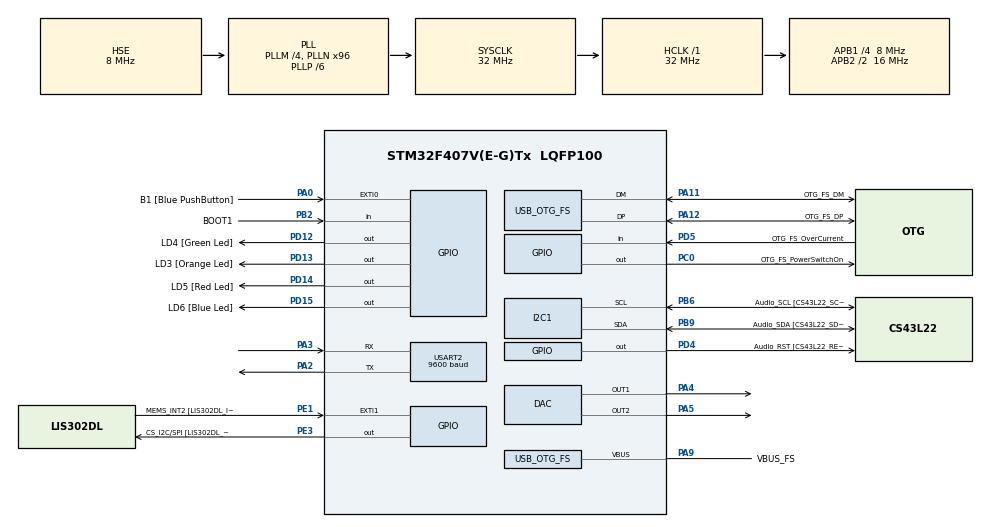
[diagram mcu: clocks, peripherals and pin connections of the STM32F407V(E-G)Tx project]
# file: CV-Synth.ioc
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Dma.Request0=USART2_RX
Dma.USART2_RX.0.Direction=DMA_PERIPH_TO_MEMORY
Dma.USART2_RX.0.FIFOMode=DMA_FIFOMODE_DISABLE
Dma.USART2_RX.0.Instance=DMA1_Stream5
Dma.USART2_RX.0.MemDataAlignment=DMA_MDATAALIGN_BYTE
Dma.USART2_RX.0.MemInc=DMA_MINC_ENABLE
Dma.USART2_RX.0.Mode=DMA_CIRCULAR
Dma.USART2_RX.0.PeriphDataAlignment=DMA_PDATAALIGN_BYTE
Dma.USART2_RX.0.PeriphInc=DMA_PINC_DISABLE
Dma.USART2_RX.0.Priority=DMA_PRIORITY_LOW
Mcu.Family=STM32F4
Mcu.Name=STM32F407V(E-G)Tx
Mcu.Package=LQFP100
NVIC.DMA1_Stream5_IRQn=true\:0\:0\:false\:false\:true\:false\:true
NVIC.OTG_FS_IRQn=true\:0\:0\:false\:false\:true\:true\:true
NVIC.PriorityGroup=NVIC_PRIORITYGROUP_0
NVIC.USART2_IRQn=true\:0\:0\:false\:false\:true\:true\:true
PA0-WKUP.GPIO_Label=B1 [Blue PushButton]
PA0-WKUP.GPIO_ModeDefaultEXTI=GPIO_MODE_EVT_RISING
PA0-WKUP.GPIO_PuPd=GPIO_NOPULL
PA0-WKUP.Signal=GPXTI0
PA10.GPIO_Label=OTG_FS_ID
PA10.GPIO_Mode=GPIO_MODE_AF_PP
PA10.GPIO_PuPd=GPIO_NOPULL
PA10.GPIO_Speed=GPIO_SPEED_FREQ_LOW
PA10.Signal=USB_OTG_FS_ID
PA11.GPIO_Label=OTG_FS_DM
PA11.GPIO_Mode=GPIO_MODE_AF_PP
PA11.GPIO_PuPd=GPIO_NOPULL
PA11.GPIO_Speed=GPIO_SPEED_FREQ_LOW
PA11.Mode=Host_Only
PA11.Signal=USB_OTG_FS_DM
PA12.GPIO_Label=OTG_FS_DP
PA12.GPIO_Mode=GPIO_MODE_AF_PP
PA12.GPIO_PuPd=GPIO_NOPULL
PA12.GPIO_Speed=GPIO_SPEED_FREQ_LOW
PA12.Mode=Host_Only
PA12.Signal=USB_OTG_FS_DP
PA13.GPIO_Label=SWDIO
PA13.Mode=Serial_Wire
PA13.Signal=SYS_JTMS-SWDIO
PA14.GPIO_Label=SWCLK
PA14.Mode=Serial_Wire
PA14.Signal=SYS_JTCK-SWCLK
PA2.Mode=Asynchronous
PA2.Signal=USART2_TX
PA3.Mode=Asynchronous
PA3.Signal=USART2_RX
PA4.Signal=COMP_DAC1_group
PA5.Signal=COMP_DAC2_group
PA6.GPIO_Label=SPI1_MISO [LIS302DL_SDO]
PA6.GPIO_Mode=GPIO_MODE_AF_PP
PA6.GPIO_PuPd=GPIO_NOPULL
PA6.GPIO_Speed=GPIO_SPEED_FREQ_LOW
PA6.Signal=SPI1_MISO
PA7.GPIO_Label=SPI1_MOSI [LIS302DL_SDA/SDI/SDO]
PA7.GPIO_Mode=GPIO_MODE_AF_PP
PA7.GPIO_PuPd=GPIO_NOPULL
PA7.GPIO_Speed=GPIO_SPEED_FREQ_LOW
PA7.Signal=SPI1_MOSI
PA9.GPIO_Label=VBUS_FS
PA9.GPIO_Mode=GPIO_MODE_INPUT
PA9.GPIO_PuPd=GPIO_NOPULL
PA9.Mode=Activate_VBUS
PA9.Signal=USB_OTG_FS_VBUS
PB10.GPIO_Label=CLK_IN [MP45DT02_CLK]
PB10.GPIO_Mode=GPIO_MODE_AF_PP
PB10.GPIO_PuPd=GPIO_NOPULL
PB10.GPIO_Speed=GPIO_SPEED_FREQ_LOW
PB10.Signal=I2S2_CK
PB2.GPIO_Label=BOOT1
PB2.GPIO_Mode=GPIO_MODE_INPUT
PB2.GPIO_PuPd=GPIO_NOPULL
PB2.Signal=GPIO_Input
PB3.GPIO_Label=SWO
PB3.Signal=SYS_JTDO-SWO
PB6.GPIO_Label=Audio_SCL [CS43L22_SCL]
PB6.GPIO_Mode=GPIO_MODE_AF_OD
PB6.GPIO_PuPd=GPIO_NOPULL
PB6.GPIO_Speed=GPIO_SPEED_FREQ_LOW
PB6.Mode=I2C
PB6.Signal=I2C1_SCL
PB9.GPIO_Label=Audio_SDA [CS43L22_SDA]
PB9.GPIO_Mode=GPIO_MODE_AF_OD
PB9.GPIO_PuPd=GPIO_NOPULL
PB9.GPIO_Speed=GPIO_SPEED_FREQ_LOW
PB9.Mode=I2C
PB9.Signal=I2C1_SDA
PC0.GPIO_Label=OTG_FS_PowerSwitchOn
PC0.GPIO_PuPd=GPIO_NOPULL
PC0.GPIO_Speed=GPIO_SPEED_FREQ_LOW
PC0.PinState=GPIO_PIN_SET
PC0.Signal=GPIO_Output
PC10.GPIO_Label=I2S3_SCK [CS43L22_SCLK]
PC10.GPIO_Mode=GPIO_MODE_AF_PP
PC10.GPIO_PuPd=GPIO_NOPULL
PC10.GPIO_Speed=GPIO_SPEED_FREQ_LOW
PC10.Signal=I2S3_CK
PC12.GPIO_Label=I2S3_SD [CS43L22_SDIN]
PC12.GPIO_Mode=GPIO_MODE_AF_PP
PC12.GPIO_PuPd=GPIO_NOPULL
PC12.GPIO_Speed=GPIO_SPEED_FREQ_LOW
PC12.Signal=I2S3_SD
PC14-OSC32_IN.GPIO_Label=PC14-OSC32_IN
PC14-OSC32_IN.Mode=LSE-External-Oscillator
PC14-OSC32_IN.Signal=RCC_OSC32_IN
PC15-OSC32_OUT.GPIO_Label=PC15-OSC32_OUT
PC15-OSC32_OUT.Mode=LSE-External-Oscillator
PC15-OSC32_OUT.Signal=RCC_OSC32_OUT
PC3.GPIO_Label=PDM_OUT [MP45DT02_DOUT]
PC3.GPIO_Mode=GPIO_MODE_AF_PP
PC3.GPIO_PuPd=GPIO_NOPULL
PC3.GPIO_Speed=GPIO_SPEED_FREQ_LOW
PC3.Signal=I2S2_SD
PC7.GPIO_Label=I2S3_MCK [CS43L22_MCLK]
PC7.GPIO_Mode=GPIO_MODE_AF_PP
PC7.GPIO_PuPd=GPIO_NOPULL
PC7.GPIO_Speed=GPIO_SPEED_FREQ_LOW
PC7.Signal=I2S3_MCK
PD12.GPIO_Label=LD4 [Green Led]
PD12.GPIO_PuPd=GPIO_NOPULL
PD12.GPIO_Speed=GPIO_SPEED_FREQ_LOW
PD12.Signal=GPIO_Output
PD13.GPIO_Label=LD3 [Orange Led]
PD13.GPIO_PuPd=GPIO_NOPULL
PD13.GPIO_Speed=GPIO_SPEED_FREQ_LOW
PD13.Signal=GPIO_Output
PD14.GPIO_Label=LD5 [Red Led]
PD14.GPIO_PuPd=GPIO_NOPULL
PD14.GPIO_Speed=GPIO_SPEED_FREQ_LOW
PD14.Signal=GPIO_Output
PD15.GPIO_Label=LD6 [Blue Led]
PD15.GPIO_PuPd=GPIO_NOPULL
PD15.GPIO_Speed=GPIO_SPEED_FREQ_LOW
PD15.Signal=GPIO_Output
PD4.GPIO_Label=Audio_RST [CS43L22_RESET]
PD4.GPIO_PuPd=GPIO_NOPULL
PD4.GPIO_Speed=GPIO_SPEED_FREQ_LOW
PD4.Signal=GPIO_Output
PD5.GPIO_Label=OTG_FS_OverCurrent
PD5.GPIO_Mode=GPIO_MODE_INPUT
PD5.GPIO_PuPd=GPIO_NOPULL
PD5.Signal=GPIO_Input
PE1.GPIO_Label=MEMS_INT2 [LIS302DL_INT2]
PE1.GPIO_ModeDefaultEXTI=GPIO_MODE_EVT_RISING
PE1.GPIO_PuPd=GPIO_NOPULL
PE1.Signal=GPXTI1
PE3.GPIO_Label=CS_I2C/SPI [LIS302DL_CS_I2C/SPI]
PE3.GPIO_PuPd=GPIO_NOPULL
PE3.GPIO_Speed=GPIO_SPEED_FREQ_LOW
PE3.Signal=GPIO_Output
PH0-OSC_IN.GPIO_Label=PH0-OSC_IN
PH0-OSC_IN.Mode=HSE-External-Oscillator
PH0-OSC_IN.Signal=RCC_OSC_IN
PH1-OSC_OUT.GPIO_Label=PH1-OSC_OUT
PH1-OSC_OUT.Mode=HSE-External-Oscillator
PH1-OSC_OUT.Signal=RCC_OSC_OUT
ProjectManager.HeapSize=0x200
ProjectManager.StackSize=0x400
ProjectManager.TargetToolchain=STM32CubeIDE
RCC.48MHZClocksFreq_Value=48000000
RCC.AHBFreq_Value=32000000
RCC.APB1CLKDivider=RCC_HCLK_DIV4
RCC.APB1Freq_Value=8000000
RCC.APB1TimFreq_Value=16000000
RCC.APB2CLKDivider=RCC_HCLK_DIV2
RCC.APB2Freq_Value=16000000
RCC.APB2TimFreq_Value=32000000
RCC.CortexFreq_Value=32000000
RCC.HCLKFreq_Value=32000000
RCC.HSE_VALUE=8000000
RCC.HSI_VALUE=16000000
RCC.PLLI2SN=50
RCC.PLLM=4
RCC.PLLN=96
RCC.PLLP=RCC_PLLP_DIV6
RCC.SYSCLKFreq_VALUE=32000000
RCC.SYSCLKSource=RCC_SYSCLKSOURCE_PLLCLK
RCC.VCOOutputFreq_Value=192000000
SH.COMP_DAC1_group.0=DAC_OUT1,DAC_OUT1
SH.COMP_DAC2_group.0=DAC_OUT2,DAC_OUT2
USART2.BaudRate=9600
USART2.VirtualMode=VM_ASYNC
USB_HOST.BSP.number=1
USB_HOST.USBH_HandleTypeDef-CDC_FS=hUsbHostFS
USB_HOST.VirtualModeFS=Cdc
USB_HOST0.BSP.STBoard=false
USB_HOST0.BSP.api=Unknown
USB_HOST0.BSP.i2caddr=0
USB_HOST0.BSP.i2creg=0
USB_HOST0.BSP.instance=PC0
USB_HOST0.BSP.ip=GPIO
USB_HOST0.BSP.mode=Output
USB_HOST0.BSP.name=Drive_VBUS_FS
USB_HOST0.BSP.solution=PC0
USB_OTG_FS.VirtualMode=Host_Only
USB_OTG_FS.phy_itface=HCD_PHY_EMBEDDED
VP_USB_HOST_VS_USB_HOST_CDC_FS.Mode=CDC_FS
board=STM32F407G-DISC1

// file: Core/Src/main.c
/* USER CODE BEGIN Header */
/**
  ******************************************************************************
  * @file           : main.c
  * @brief          : Main program body
  ******************************************************************************
  * @attention
  *
  * <h2><center>&copy; Copyright (c) 2021 STMicroelectronics.
  * All rights reserved.</center></h2>
  *
  * This software component is licensed by ST under Ultimate Liberty license
  * SLA0044, the "License"; You may not use this file except in compliance with
  * the License. You may obtain a copy of the License at:
  *                             www.st.com/SLA0044
  *
  ******************************************************************************
  */

/*
 * TODO
 * 		Get 12 bit DAC resolution working instead of 8 bit
 *		Stabilize/buffer voltage before or after opamp
 *		Custom BLE service - midi spec, handling, hw flow control
 *		Custom PCB
 *
 * BUGS
 * 		If messages that are too large are received, the remainder of previous message
		will overflow onto the beginning of next message sent. Assuming opposite
		problem likely when messages smaller than expected are received. Would prob
		be best to address when adding custom BLE service and midi handler
 * 		Eurorack tuning isn't standardized, so what to do? Middle C is 5v for me
		but 2v or 3v for different modules. 0v is middle c for moog so maybe
		should shift range from 0v to 10v to -5v to +5v
*/

/* USER CODE END Header */
#include "main.h"
#include "usb_host.h"

/* USER CODE BEGIN Includes */
#include <stdio.h>
#include <stdint.h>
/* USER CODE END Includes */

DAC_HandleTypeDef hdac;

I2C_HandleTypeDef hi2c1;

UART_HandleTypeDef huart2;
DMA_HandleTypeDef hdma_usart2_rx;

void SystemClock_Config(void);
static void MX_GPIO_Init(void);
static void MX_DMA_Init(void);
static void MX_I2C1_Init(void);
static void MX_USART2_UART_Init(void);
static void MX_DAC_Init(void);
void MX_USB_HOST_Process(void);

/* USER CODE BEGIN 0 */
	uint8_t volatile RxData[3];
	uint8_t volatile TxData[13]="Hello World\r\n";

	//MIDI BYTES
	uint8_t const midi_status = 0;
	uint8_t const midi_pitch = 1;
	uint8_t const midi_velocity = 2;

//	//GATE
//	uint8_t const note_on = 0x90;
//	uint8_t const note_off = 0x80;

	//CV
	float valVolt = 3; //range is 0v - 3v
	uint8_t valByte;
/* USER CODE END 0 */

int main(void)
{

  /* MCU Configuration--------------------------------------------------------*/

  /* Reset of all peripherals, Initializes the Flash interface and the Systick. */
  HAL_Init();

  /* Configure the system clock */
  SystemClock_Config();

  /* Initialize all configured peripherals */
  MX_GPIO_Init();
  MX_DMA_Init();
  MX_I2C1_Init();
  MX_USB_HOST_Init();
  MX_USART2_UART_Init();
  MX_DAC_Init();
  /* USER CODE BEGIN 2 */
  valByte = (uint8_t)((valVolt/3.0)*255);

  HAL_UART_Receive_DMA(&huart2, RxData, 3);
  HAL_DAC_Start(&hdac, DAC_CHANNEL_1);
  HAL_DAC_SetValue(&hdac, DAC_CHANNEL_1, DAC_ALIGN_8B_R, 255);
  HAL_DAC_Start(&hdac, DAC_CHANNEL_2);
  HAL_DAC_SetValue(&hdac, DAC_CHANNEL_2, DAC_ALIGN_8B_R, 255);
  /* USER CODE END 2 */

  /* Infinite loop */
  while (1)
  {
    MX_USB_HOST_Process();

    /* USER CODE BEGIN 3 */
    //DAC1 Pitch
    if (RxData[midi_pitch] > 120) { //Rounding off to 120 so 1v/oct scales properly
        RxData[midi_pitch] = 120;
    }
    valVolt = (RxData[midi_pitch] * 3.3) / 120; 	//Actual output from DAC is 2.85v not 3.3v but compensated with opamp
    valByte = (uint8_t)((valVolt/3.3)*255);			//Opamp R1 7.5K, R2 3K
    HAL_DAC_SetValue(&hdac, DAC_CHANNEL_1, DAC_ALIGN_8B_R, valByte);

    //DAC2 Gate
    if ((RxData[midi_status] >= 0x90) && (RxData[midi_status] <= 0x9F)) {
    	HAL_DAC_SetValue(&hdac, DAC_CHANNEL_2, DAC_ALIGN_8B_R, 255);
    }
    if ((RxData[midi_status] >= 0x80) && (RxData[midi_status] <= 0x8F)) {
    	HAL_DAC_SetValue(&hdac, DAC_CHANNEL_2, DAC_ALIGN_8B_R, 0);
    }

//    printf("Status is 0x%X, pitch is 0x%X, velocity is 0x%X \n\n", RxData[midi_status], RxData[midi_pitch], RxData[midi_velocity]);
//
//    HAL_UART_Transmit(&huart2, TxData, 13, 10);

//    HAL_Delay(500);
//    HAL_GPIO_TogglePin(GPIOD, GPIO_PIN_15);
  }
  /* USER CODE END 3 */
}

void SystemClock_Config(void)
{
  RCC_OscInitTypeDef RCC_OscInitStruct = {0};
  RCC_ClkInitTypeDef RCC_ClkInitStruct = {0};

  /** Configure the main internal regulator output voltage
  */
  __HAL_RCC_PWR_CLK_ENABLE();
  __HAL_PWR_VOLTAGESCALING_CONFIG(PWR_REGULATOR_VOLTAGE_SCALE1);
  /** Initializes the RCC Oscillators according to the specified parameters
  * in the RCC_OscInitTypeDef structure.
  */
  RCC_OscInitStruct.OscillatorType = RCC_OSCILLATORTYPE_HSE;
  RCC_OscInitStruct.HSEState = RCC_HSE_ON;
  RCC_OscInitStruct.PLL.PLLState = RCC_PLL_ON;
  RCC_OscInitStruct.PLL.PLLSource = RCC_PLLSOURCE_HSE;
  RCC_OscInitStruct.PLL.PLLM = 4;
  RCC_OscInitStruct.PLL.PLLN = 96;
  RCC_OscInitStruct.PLL.PLLP = RCC_PLLP_DIV6;
  RCC_OscInitStruct.PLL.PLLQ = 4;
  if (HAL_RCC_OscConfig(&RCC_OscInitStruct) != HAL_OK)
  {
    Error_Handler();
  }
  /** Initializes the CPU, AHB and APB buses clocks
  */
  RCC_ClkInitStruct.ClockType = RCC_CLOCKTYPE_HCLK|RCC_CLOCKTYPE_SYSCLK
                              |RCC_CLOCKTYPE_PCLK1|RCC_CLOCKTYPE_PCLK2;
  RCC_ClkInitStruct.SYSCLKSource = RCC_SYSCLKSOURCE_PLLCLK;
  RCC_ClkInitStruct.AHBCLKDivider = RCC_SYSCLK_DIV1;
  RCC_ClkInitStruct.APB1CLKDivider = RCC_HCLK_DIV4;
  RCC_ClkInitStruct.APB2CLKDivider = RCC_HCLK_DIV2;

  if (HAL_RCC_ClockConfig(&RCC_ClkInitStruct, FLASH_LATENCY_1) != HAL_OK)
  {
    Error_Handler();
  }
}

static void MX_DAC_Init(void)
{

  DAC_ChannelConfTypeDef sConfig = {0};

  /** DAC Initialization
  */
  hdac.Instance = DAC;
  if (HAL_DAC_Init(&hdac) != HAL_OK)
  {
    Error_Handler();
  }
  /** DAC channel OUT1 config
  */
  sConfig.DAC_Trigger = DAC_TRIGGER_NONE;
  sConfig.DAC_OutputBuffer = DAC_OUTPUTBUFFER_ENABLE;
  if (HAL_DAC_ConfigChannel(&hdac, &sConfig, DAC_CHANNEL_1) != HAL_OK)
  {
    Error_Handler();
  }
  /** DAC channel OUT2 config
  */
  if (HAL_DAC_ConfigChannel(&hdac, &sConfig, DAC_CHANNEL_2) != HAL_OK)
  {
    Error_Handler();
  }

}

static void MX_I2C1_Init(void)
{

  hi2c1.Instance = I2C1;
  hi2c1.Init.ClockSpeed = 100000;
  hi2c1.Init.DutyCycle = I2C_DUTYCYCLE_2;
  hi2c1.Init.OwnAddress1 = 0;
  hi2c1.Init.AddressingMode = I2C_ADDRESSINGMODE_7BIT;
  hi2c1.Init.DualAddressMode = I2C_DUALADDRESS_DISABLE;
  hi2c1.Init.OwnAddress2 = 0;
  hi2c1.Init.GeneralCallMode = I2C_GENERALCALL_DISABLE;
  hi2c1.Init.NoStretchMode = I2C_NOSTRETCH_DISABLE;
  if (HAL_I2C_Init(&hi2c1) != HAL_OK)
  {
    Error_Handler();
  }

}

static void MX_USART2_UART_Init(void)
{

  huart2.Instance = USART2;
  huart2.Init.BaudRate = 9600;
  huart2.Init.WordLength = UART_WORDLENGTH_8B;
  huart2.Init.StopBits = UART_STOPBITS_1;
  huart2.Init.Parity = UART_PARITY_NONE;
  huart2.Init.Mode = UART_MODE_TX_RX;
  huart2.Init.HwFlowCtl = UART_HWCONTROL_NONE;
  huart2.Init.OverSampling = UART_OVERSAMPLING_16;
  if (HAL_UART_Init(&huart2) != HAL_OK)
  {
    Error_Handler();
  }

}

static void MX_DMA_Init(void)
{

  /* DMA controller clock enable */
  __HAL_RCC_DMA1_CLK_ENABLE();

  /* DMA interrupt init */
  /* DMA1_Stream5_IRQn interrupt configuration */
  HAL_NVIC_SetPriority(DMA1_Stream5_IRQn, 0, 0);
  HAL_NVIC_EnableIRQ(DMA1_Stream5_IRQn);

}

static void MX_GPIO_Init(void)
{
  GPIO_InitTypeDef GPIO_InitStruct = {0};

  /* GPIO Ports Clock Enable */
  __HAL_RCC_GPIOE_CLK_ENABLE();
  __HAL_RCC_GPIOC_CLK_ENABLE();
  __HAL_RCC_GPIOH_CLK_ENABLE();
  __HAL_RCC_GPIOA_CLK_ENABLE();
  __HAL_RCC_GPIOB_CLK_ENABLE();
  __HAL_RCC_GPIOD_CLK_ENABLE();

  /*Configure GPIO pin Output Level */
  HAL_GPIO_WritePin(CS_I2C_SPI_GPIO_Port, CS_I2C_SPI_Pin, GPIO_PIN_RESET);

  /*Configure GPIO pin Output Level */
  HAL_GPIO_WritePin(OTG_FS_PowerSwitchOn_GPIO_Port, OTG_FS_PowerSwitchOn_Pin, GPIO_PIN_SET);

  /*Configure GPIO pin Output Level */
  HAL_GPIO_WritePin(GPIOD, LD4_Pin|LD3_Pin|LD5_Pin|LD6_Pin
                          |Audio_RST_Pin, GPIO_PIN_RESET);

  /*Configure GPIO pin : CS_I2C_SPI_Pin */
  GPIO_InitStruct.Pin = CS_I2C_SPI_Pin;
  GPIO_InitStruct.Mode = GPIO_MODE_OUTPUT_PP;
  GPIO_InitStruct.Pull = GPIO_NOPULL;
  GPIO_InitStruct.Speed = GPIO_SPEED_FREQ_LOW;
  HAL_GPIO_Init(CS_I2C_SPI_GPIO_Port, &GPIO_InitStruct);

  /*Configure GPIO pin : OTG_FS_PowerSwitchOn_Pin */
  GPIO_InitStruct.Pin = OTG_FS_PowerSwitchOn_Pin;
  GPIO_InitStruct.Mode = GPIO_MODE_OUTPUT_PP;
  GPIO_InitStruct.Pull = GPIO_NOPULL;
  GPIO_InitStruct.Speed = GPIO_SPEED_FREQ_LOW;
  HAL_GPIO_Init(OTG_FS_PowerSwitchOn_GPIO_Port, &GPIO_InitStruct);

  /*Configure GPIO pin : PDM_OUT_Pin */
  GPIO_InitStruct.Pin = PDM_OUT_Pin;
  GPIO_InitStruct.Mode = GPIO_MODE_AF_PP;
  GPIO_InitStruct.Pull = GPIO_NOPULL;
  GPIO_InitStruct.Speed = GPIO_SPEED_FREQ_LOW;
  GPIO_InitStruct.Alternate = GPIO_AF5_SPI2;
  HAL_GPIO_Init(PDM_OUT_GPIO_Port, &GPIO_InitStruct);

  /*Configure GPIO pin : B1_Pin */
  GPIO_InitStruct.Pin = B1_Pin;
  GPIO_InitStruct.Mode = GPIO_MODE_EVT_RISING;
  GPIO_InitStruct.Pull = GPIO_NOPULL;
  HAL_GPIO_Init(B1_GPIO_Port, &GPIO_InitStruct);

  /*Configure GPIO pins : SPI1_MISO_Pin SPI1_MOSI_Pin */
  GPIO_InitStruct.Pin = SPI1_MISO_Pin|SPI1_MOSI_Pin;
  GPIO_InitStruct.Mode = GPIO_MODE_AF_PP;
  GPIO_InitStruct.Pull = GPIO_NOPULL;
  GPIO_InitStruct.Speed = GPIO_SPEED_FREQ_LOW;
  GPIO_InitStruct.Alternate = GPIO_AF5_SPI1;
  HAL_GPIO_Init(GPIOA, &GPIO_InitStruct);

  /*Configure GPIO pin : BOOT1_Pin */
  GPIO_InitStruct.Pin = BOOT1_Pin;
  GPIO_InitStruct.Mode = GPIO_MODE_INPUT;
  GPIO_InitStruct.Pull = GPIO_NOPULL;
  HAL_GPIO_Init(BOOT1_GPIO_Port, &GPIO_InitStruct);

  /*Configure GPIO pin : CLK_IN_Pin */
  GPIO_InitStruct.Pin = CLK_IN_Pin;
  GPIO_InitStruct.Mode = GPIO_MODE_AF_PP;
  GPIO_InitStruct.Pull = GPIO_NOPULL;
  GPIO_InitStruct.Speed = GPIO_SPEED_FREQ_LOW;
  GPIO_InitStruct.Alternate = GPIO_AF5_SPI2;
  HAL_GPIO_Init(CLK_IN_GPIO_Port, &GPIO_InitStruct);

  /*Configure GPIO pins : LD4_Pin LD3_Pin LD5_Pin LD6_Pin
                           Audio_RST_Pin */
  GPIO_InitStruct.Pin = LD4_Pin|LD3_Pin|LD5_Pin|LD6_Pin
                          |Audio_RST_Pin;
  GPIO_InitStruct.Mode = GPIO_MODE_OUTPUT_PP;
  GPIO_InitStruct.Pull = GPIO_NOPULL;
  GPIO_InitStruct.Speed = GPIO_SPEED_FREQ_LOW;
  HAL_GPIO_Init(GPIOD, &GPIO_InitStruct);

  /*Configure GPIO pins : I2S3_MCK_Pin I2S3_SCK_Pin I2S3_SD_Pin */
  GPIO_InitStruct.Pin = I2S3_MCK_Pin|I2S3_SCK_Pin|I2S3_SD_Pin;
  GPIO_InitStruct.Mode = GPIO_MODE_AF_PP;
  GPIO_InitStruct.Pull = GPIO_NOPULL;
  GPIO_InitStruct.Speed = GPIO_SPEED_FREQ_LOW;
  GPIO_InitStruct.Alternate = GPIO_AF6_SPI3;
  HAL_GPIO_Init(GPIOC, &GPIO_InitStruct);

  /*Configure GPIO pin : OTG_FS_OverCurrent_Pin */
  GPIO_InitStruct.Pin = OTG_FS_OverCurrent_Pin;
  GPIO_InitStruct.Mode = GPIO_MODE_INPUT;
  GPIO_InitStruct.Pull = GPIO_NOPULL;
  HAL_GPIO_Init(OTG_FS_OverCurrent_GPIO_Port, &GPIO_InitStruct);

  /*Configure GPIO pin : MEMS_INT2_Pin */
  GPIO_InitStruct.Pin = MEMS_INT2_Pin;
  GPIO_InitStruct.Mode = GPIO_MODE_EVT_RISING;
  GPIO_InitStruct.Pull = GPIO_NOPULL;
  HAL_GPIO_Init(MEMS_INT2_GPIO_Port, &GPIO_InitStruct);

}

/* USER CODE BEGIN 4 */
//		void HAL_UART_RxCpltCallback(UART_HandleTypeDef *huart) {
//			UNUSED(huart);
//			HAL_UART_Transmit(&huart2, RxData, 11, 10);
//			printf(RxData);
//		}
/* USER CODE END 4 */

void Error_Handler(void)
{
  __disable_irq();
  while (1)
  {
  }
}

/************************ (C) COPYRIGHT STMicroelectronics *****END OF FILE****/
